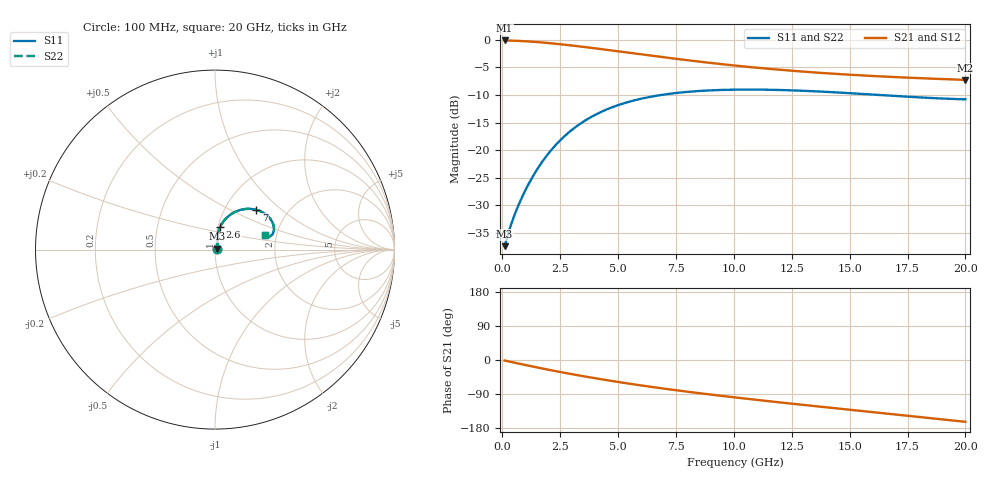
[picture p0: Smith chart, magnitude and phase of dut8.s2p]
! Touchstone file exported from HFSS 2024.1.0
!  File:  C:/UserFiles/LocalFiles/RDL_TSV_Batchsim/temp_RDL_TSV_8_1779397121.aedt
!  Generated:  05:12:34 AM May 22, 2026
!  Design:  RDL_TSV
!  Project:  temp_RDL_TSV_8_1779397121
!  Setup:  Setup1
!  Solution:  Sweep
! Variables:
!  dtsv = 6.12um
!  hbump = 3um
!  htsv = 51.68um
!  ldown = 480.85um
!  lrdl = 273.76um
!  p = 40
!  p1 = 51.59um
!  rhole = 10um
!  subl = 2537.59um
!  t = 450um
!  tdown = 3.13um
!  trdl = 3.93um
!  viad = 10um
!  wdown = 24.45um
!  wrdl = 21.81um
!  xbump = 18um
# GHz S MA R 50.000000
! Terminal data exported
! Port[1] = TM1_1_T1
! Port[2] = TM1_4_T1
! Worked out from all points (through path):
!   200 points, 100 MHz to 20 GHz, reference 50 ohm
!   highest |S21| = -0.11 dB at 100 MHz (marker M1); lowest = -7.3 dB at 20 GHz (marker M2)
!   group delay of S21, straight-line fit = 21.4 ps
!   lowest |S11| = -37.4 dB at 100 MHz (marker M3), VSWR 1.03, Z = 51.3 + j0.477 ohm
!   |S11| at or under -10 dB: start of sweep to 6.86 GHz; 16.28 GHz to end of sweep
!   |S22| runs from -37.4 to -9.0 dB; largest |S21 - S12| = 1.8e-14
!   S11 on the Smith chart (normalised r, x): 100 MHz: 1.03, +0.01; 2.6 GHz: 1.02, +0.26; 7 GHz: 1.40, +0.69; 20 GHz: 1.73, +0.31
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0.1  0.01346 20.2  0.9872 -1.4  0.9872 -1.4  0.01346 20.2
! Gamma 0 0 0 0
! Port Impedance 50 0 50 0
0.3  0.01879 43.7  0.9849 -4.1  0.9849 -4.1  0.01879 43.7
0.5  0.02495 55.9  0.9818 -6.7  0.9818 -6.7  0.02495 55.9
0.8  0.03542 67.2  0.9759 -10.7  0.9759 -10.7  0.03542 67.2
1.1  0.0477 73.9  0.9681 -14.6  0.9681 -14.6  0.0477 73.9
1.4  0.06168 77.5  0.9585 -18.4  0.9585 -18.4  0.06168 77.5
1.8  0.08249 79.3  0.9435 -23.3  0.9435 -23.3  0.0825 79.3
2.2  0.1051 79.0  0.9265 -28.1  0.9265 -28.1  0.1051 79.0
2.6  0.1286 77.3  0.9081 -32.8  0.9081 -32.8  0.1286 77.3
3  0.1522 74.8  0.8887 -37.3  0.8887 -37.3  0.1522 74.8
3.5  0.1811 71.0  0.8636 -42.8  0.8636 -42.8  0.1811 71.0
4.2  0.2186 65.3  0.8279 -50.1  0.8279 -50.1  0.2186 65.3
5  0.2557 58.7  0.7874 -58.0  0.7874 -58.0  0.2557 58.7
5.9  0.2894 51.6  0.7435 -66.3  0.7435 -66.3  0.2894 51.6
6.8  0.3148 45.2  0.7026 -74.0  0.7026 -74.0  0.3148 45.2
7  0.3194 43.9  0.6939 -75.7  0.6939 -75.7  0.3194 43.9
8.5  0.3437 35.0  0.6348 -87.5  0.6348 -87.5  0.3437 35.0
10.1  0.3536 27.4  0.583 -99.1  0.583 -99.1  0.3536 27.4
11.7  0.3521 21.6  0.5418 -110.0  0.5418 -110.0  0.352 21.6
13.4  0.3423 17.2  0.5077 -121.1  0.5077 -121.1  0.3422 17.2
16.7  0.3123 13.6  0.4622 -142.0  0.4622 -142.0  0.3121 13.6
20  0.2888 16.7  0.4333 -163.1  0.4333 -163.1  0.2886 16.7
